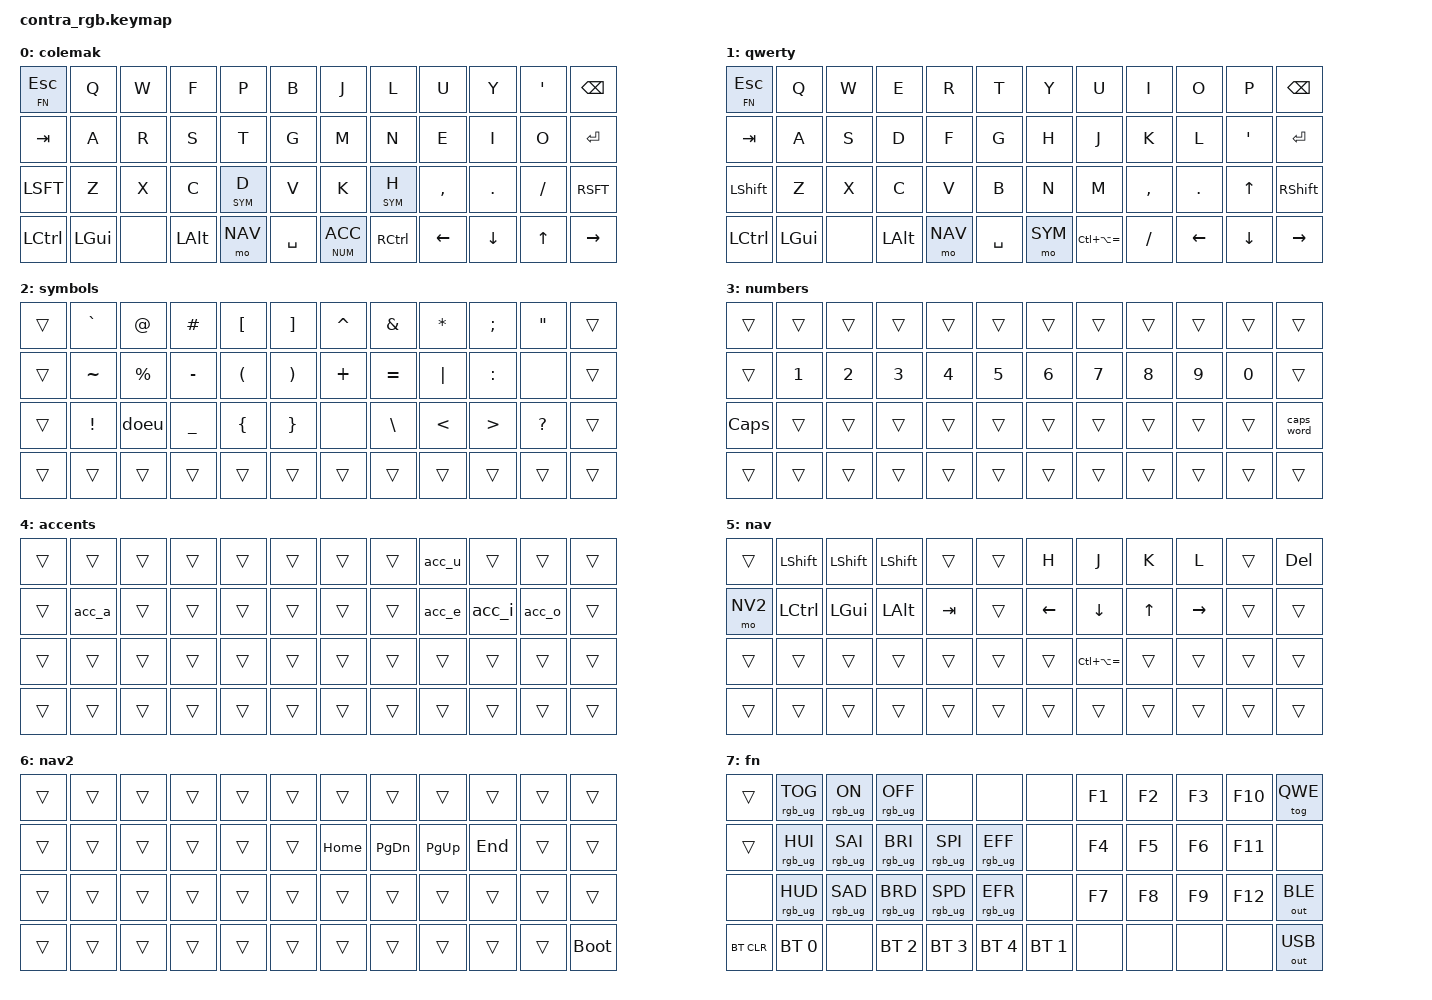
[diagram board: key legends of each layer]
/*
 * Copyright (c) 2021 The ZMK Contributors
 *
 * SPDX-License-Identifier: MIT
 */

#include <behaviors.dtsi>
#include <dt-bindings/zmk/keys.h>
#include <dt-bindings/zmk/bt.h>
#include <dt-bindings/zmk/rgb.h>
#include <dt-bindings/zmk/outputs.h>

#define COL      0
#define QWE      1
#define SYM      2
#define NUM      3
#define ACC      4
#define NAV      5
#define NV2      6
#define FN       7

#define COMPOSE_KEY K_APP

&caps_word {
    continue-list = <UNDERSCORE BACKSPACE DELETE COMPOSE_KEY GRAVE SQT>;
};

/ {
    keymap {
        compatible = "zmk,keymap";

/*
 * ┌─────┬─────┬─────┬─────┬─────┬─────┬─────┬─────┬─────┬─────┬─────┬─────┐
 * │ esc │  Q  │  W  │  F  │  P  │  B  │  J  │  L  │  U  │  Y  │  '  │bkspc│
 * ├─────┼─────┼─────┼─────┼─────┼─────┼─────┼─────┼─────┼─────┼─────┼─────┤
 * │ tab │  A  │  R  │  S  │  T  │  G  │  M  │  N  │  E  │  I  │  O  │enter│
 * ├─────┼─────┼─────┼─────┼─────┼─────┼─────┼─────┼─────┼─────┼─────┼─────┤
 * │shift│  Z  │  X  │  C  │  D  │  V  │  K  │  H  │  ,  │  .  │  /  │shift│
 * └─────┴─────┴─────┴─────┼─────┼─────┼─────┼─────┼─────┴─────┴─────┴─────┘
 *                         │ nav │space│nu/ac│ctrl │
 *                         └─────┴─────┴─────┴─────┘
 */
        colemak {
            bindings = <
    &lt FN ESC   &kp Q      &kp W &kp F    &kp P      &kp B     &kp J        &kp L      &kp U      &kp Y     &kp SQT       &kp BSPC
    &kp TAB      &kp A      &kp R &kp S    &kp T      &kp G     &kp M        &kp N      &kp E      &kp I     &kp O         &kp ENTER
    &kp LSFT     &kp Z      &kp X &kp C    &bhm SYM D &kp V     &kp K        &bhm SYM H &kp COMMA  &kp DOT   &kp FSLH      &kp RSFT
    &kp LCTRL    &kp LGUI   &none &kp LALT &mo NAV    &kp SPACE &nac NUM ACC &kp RCTRL  &kp LEFT   &kp DOWN  &kp UP        &kp RIGHT
            >;
        };

/*
 * ┌─────┬─────┬─────┬─────┬─────┬─────┬─────┬─────┬─────┬─────┬─────┬─────┐
 * │ esc │  Q  │  W  │  E  │  R  │  T  │  Y  │  U  │  I  │  O  │  P  │bkspc│
 * ├─────┼─────┼─────┼─────┼─────┼─────┼─────┼─────┼─────┼─────┼─────┼─────┤
 * │ tab │  A  │  S  │  D  │  F  │  G  │  H  │  J  │  K  │  L  │  '  │enter│
 * ├─────┼─────┼─────┼─────┼─────┼─────┼─────┼─────┼─────┼─────┼─────┼─────┤
 * │shift│  Z  │  X  │  C  │  V  │  B  │  N  │  M  │  ,  │  .  │  /  │shift│
 * └─────┴─────┴─────┴─────┼─────┼─────┼─────┼─────┼─────┴─────┴─────┴─────┘
 *                         │ nav │space│ sym │term │
 *                         └─────┴─────┴─────┴─────┘
 */
        qwerty {
            bindings = <
    &lt FN ESC &kp Q    &kp W &kp E    &kp R   &kp T     &kp Y   &kp U             &kp I     &kp O    &kp P    &kp BSPC
    &kp TAB    &kp A    &kp S &kp D    &kp F   &kp G     &kp H   &kp J             &kp K     &kp L    &kp SQT  &kp ENTER
    &kp LSHFT  &kp Z    &kp X &kp C    &kp V   &kp B     &kp N   &kp M             &kp COMMA &kp DOT  &kp UP   &kp RSHFT
    &kp LCTRL  &kp LGUI &none &kp LALT &mo NAV &kp SPACE &mo SYM &kp LC(LA(EQUAL)) &kp FSLH  &kp LEFT &kp DOWN &kp RIGHT
            >;
        };

/*
 * ┌─────┬─────┬─────┬─────┬─────┬─────┬─────┬─────┬─────┬─────┬─────┬─────┐
 * │     │  `  │  @  │  #  │  [  │  ]  │  ^  │  &  │  *  │  ;  │  "  │     │
 * ├─────┼─────┼─────┼─────┼─────┼─────┼─────┼─────┼─────┼─────┼─────┼─────┤
 * │     │  ~  │  %  │  -  │  (  │  )  │  +  │  =  │  |  │  :  │     │     │
 * ├─────┼─────┼─────┼─────┼─────┼─────┼─────┼─────┼─────┼─────┼─────┼─────┤
 * │     │  !  │ $ € │  _  │  {  │  }  │     │  \  │  <  │  >  │  ?  │     │
 * └─────┴─────┴─────┴─────┼─────┼─────┼─────┼─────┼─────┴─────┴─────┴─────┘
 *                         │     │     │     │     │
 *                         └─────┴─────┴─────┴─────┘
 */
        symbols {
            bindings = <
    &trans &kp GRAVE       &kp AT      &kp HASH       &kp LEFT_BRACKET     &kp RIGHT_BRACKET     &kp CARET  &kp AMPERSAND   &kp STAR      &kp SEMICOLON    &kp DOUBLE_QUOTES &trans
    &trans &kp TILDE       &kp PERCENT &kp MINUS      &kp LEFT_PARENTHESIS &kp RIGHT_PARENTHESIS &kp PLUS   &kp EQUAL       &kp PIPE      &kp COLON        &none             &trans
    &trans &kp EXCLAMATION &doeu       &kp UNDERSCORE &kp LEFT_BRACE       &kp RIGHT_BRACE       &none      &kp BACKSLASH   &kp LESS_THAN &kp GREATER_THAN &kp QUESTION      &trans
    &trans &trans          &trans      &trans         &trans               &trans                &trans     &trans          &trans        &trans           &trans            &trans
            >;
        };

/*
 * ┌─────┬─────┬─────┬─────┬─────┬─────┬─────┬─────┬─────┬─────┬─────┬─────┐
 * │     │     │     │     │     │     │     │     │     │     │     │     │
 * ├─────┼─────┼─────┼─────┼─────┼─────┼─────┼─────┼─────┼─────┼─────┼─────┤
 * │     │  1  │  2  │  3  │  4  │  5  │  6  │  7  │  8  │  9  │  0  │     │
 * ├─────┼─────┼─────┼─────┼─────┼─────┼─────┼─────┼─────┼─────┼─────┼─────┤
 * │caps │     │     │     │     │     │     │     │     │     │     │capsw│
 * └─────┴─────┴─────┴─────┼─────┼─────┼─────┼─────┼─────┴─────┴─────┴─────┘
 *                         │     │     │     │     │
 *                         └─────┴─────┴─────┴─────┘
 */
        numbers {
            bindings = <
    &trans    &trans &trans &trans &trans &trans &trans &trans &trans &trans &trans &trans
    &trans    &kp N1 &kp N2 &kp N3 &kp N4 &kp N5 &kp N6 &kp N7 &kp N8 &kp N9 &kp N0 &trans
    &kp CAPS  &trans &trans &trans &trans &trans &trans &trans &trans &trans &trans &caps_word
    &trans    &trans &trans &trans &trans &trans &trans &trans &trans &trans &trans &trans
            >;
        };

/*
 * ┌─────┬─────┬─────┬─────┬─────┬─────┬─────┬─────┬─────┬─────┬─────┬─────┐
 * │     │     │     │     │     │     │     │     │  Ù  │     │     │     │
 * ├─────┼─────┼─────┼─────┼─────┼─────┼─────┼─────┼─────┼─────┼─────┼─────┤
 * │     │  À  │     │     │     │     │     │     │ È É │  Ì  │  Ò  │     │
 * ├─────┼─────┼─────┼─────┼─────┼─────┼─────┼─────┼─────┼─────┼─────┼─────┤
 * │     │     │     │     │     │     │     │     │     │     │     │     │
 * └─────┴─────┴─────┴─────┼─────┼─────┼─────┼─────┼─────┴─────┴─────┴─────┘
 *                         │     │     │     │     │
 *                         └─────┴─────┴─────┴─────┘
 */
        accents {
            bindings = <
    &trans &trans &trans &trans &trans &trans &trans &trans &acc_u &trans &trans &trans
    &trans &acc_a &trans &trans &trans &trans &trans &trans &acc_e &acc_i &acc_o &trans
    &trans &trans &trans &trans &trans &trans &trans &trans &trans &trans &trans &trans
    &trans &trans &trans &trans &trans &trans &trans &trans &trans &trans &trans &trans
            >;
        };

/*
 * ┌─────┬─────┬─────┬─────┬─────┬─────┬─────┬─────┬─────┬─────┬─────┬─────┐
 * │     │shift│shift│shift│     │     │  h  │  j  │  k  │  l  │     │ del │
 * ├─────┼─────┼─────┼─────┼─────┼─────┼─────┼─────┼─────┼─────┼─────┼─────┤
 * │nav2 │ctrl │ win │ alt │ tab │     │left │down │ up  │right│     │     │
 * ├─────┼─────┼─────┼─────┼─────┼─────┼─────┼─────┼─────┼─────┼─────┼─────┤
 * │     │     │     │     │     │     │     │term │     │     │     │     │
 * └─────┴─────┴─────┴─────┼─────┼─────┼─────┼─────┼─────┴─────┴─────┴─────┘
 *                         │     │     │     │     │
 *                         └─────┴─────┴─────┴─────┘
 */
        nav {
            bindings = <
    &trans   &kp LSHFT &kp LSHFT &kp LSHFT &trans  &trans &kp H    &kp J             &kp K    &kp L     &trans    &kp DEL
    &mo NV2  &kp LCTRL &kp LGUI  &kp LALT  &kp TAB &trans &kp LEFT &kp DOWN          &kp UP   &kp RIGHT &trans    &trans
    &trans   &trans    &trans    &trans    &trans  &trans &trans   &kp LC(LA(EQUAL)) &trans   &trans    &trans    &trans
    &trans   &trans    &trans    &trans    &trans  &trans &trans   &trans            &trans   &trans    &trans    &trans
            >;
        };
/*
 * ┌─────┬─────┬─────┬─────┬─────┬─────┬─────┬─────┬─────┬─────┬─────┬─────┐
 * │     │     │     │     │     │     │     │     │     │     │     │     │
 * ├─────┼─────┼─────┼─────┼─────┼─────┼─────┼─────┼─────┼─────┼─────┼─────┤
 * │     │     │     │     │     │     │home │pgdwn│pgup │ end │     │     │
 * ├─────┼─────┼─────┼─────┼─────┼─────┼─────┼─────┼─────┼─────┼─────┼─────┤
 * │     │     │     │     │     │     │     │     │     │     │     │     │
 * └─────┴─────┴─────┴─────┼─────┼─────┼─────┼─────┼─────┴─────┴─────┴─────┘
 *                         │     │     │     │     │
 *                         └─────┴─────┴─────┴─────┘
 */
        nav2 {
            bindings = <
    &trans &trans &trans &trans &trans &trans &trans   &trans    &trans    &trans  &trans &trans
    &trans &trans &trans &trans &trans &trans &kp HOME &kp PG_DN &kp PG_UP &kp END &trans &trans
    &trans &trans &trans &trans &trans &trans &trans   &trans    &trans    &trans  &trans &trans
    &trans &trans &trans &trans &trans &trans &trans   &trans    &trans    &trans  &trans &bootloader
            >;
        };

/*
 * ┌─────┬─────┬─────┬─────┬─────┬─────┬─────┬─────┬─────┬─────┬─────┬─────┐
 * │     │     │     │     │     │     │     │ F1  │ F2  │ F3  │ F10 │ qwe │
 * ├─────┼─────┼─────┼─────┼─────┼─────┼─────┼─────┼─────┼─────┼─────┼─────┤
 * │     │     │     │     │     │     │     │ F4  │ F5  │ F6  │ F11 │     │
 * ├─────┼─────┼─────┼─────┼─────┼─────┼─────┼─────┼─────┼─────┼─────┼─────┤
 * │     │     │     │     │     │     │     │ F7  │ F8  │ F9  │ F12 │     │
 * └─────┴─────┴─────┴─────┼─────┼─────┼─────┼─────┼─────┴─────┴─────┴─────┘
 *                         │     │     │     │     │
 *                         └─────┴─────┴─────┴─────┘
 */
        fn {
            bindings = <
    &trans     &rgb_ug RGB_TOG &rgb_ug RGB_ON  &rgb_ug RGB_OFF &none           &none           &none        &kp F1 &kp F2 &kp F3 &kp F10 &tog QWE
    &trans     &rgb_ug RGB_HUI &rgb_ug RGB_SAI &rgb_ug RGB_BRI &rgb_ug RGB_SPI &rgb_ug RGB_EFF &none        &kp F4 &kp F5 &kp F6 &kp F11 &none
    &none      &rgb_ug RGB_HUD &rgb_ug RGB_SAD &rgb_ug RGB_BRD &rgb_ug RGB_SPD &rgb_ug RGB_EFR &none        &kp F7 &kp F8 &kp F9 &kp F12 &out OUT_BLE
    &bt BT_CLR &bt BT_SEL 0    &none           &bt BT_SEL 2    &bt BT_SEL 3    &bt BT_SEL 4    &bt BT_SEL 1 &none  &none  &none  &none   &out OUT_USB
            >;
        };
    };

    behaviors {
        bhm: balanced_homerow_mods {
            compatible = "zmk,behavior-hold-tap";
            label = "HOMEROW_MODS";
            #binding-cells = <2>;
            tapping-term-ms = <175>;
            quick-tap-ms = <150>;
            flavor = "balanced";
            bindings = <&mo>, <&kp>;
        };

        nac: num_acc {
            compatible = "zmk,behavior-hold-tap";
            #binding-cells = <2>;
            flavor = "hold-preferred";
            tapping-term-ms = <200>;
            bindings = <&mo>, <&acc>;
        };

        acc: accents_with_shift {
            compatible = "zmk,behavior-sticky-key";
            #binding-cells = <1>;
            bindings = <&mo>;
            release-after-ms = <1000>;
        };

        doeu: dollar_euro {
            compatible = "zmk,behavior-tap-dance";
            label = "TAP_DANCE_0";
            #binding-cells = <0>;
            tapping-term-ms = <175>;
            bindings = <&kp DOLLAR>, <&euro>;
        };

        acc_a: accented_a {
            compatible = "zmk,behavior-mod-morph";
            label = "ACCENTED_A";
            #binding-cells = <0>;
            bindings = <&lo_acc_a>, <&up_acc_a>;
            mods = <(MOD_LSFT|MOD_RSFT)>;
        };

        acc_e: accented_e {
            compatible = "zmk,behavior-tap-dance";
            label = "ACCENTED_E";
            #binding-cells = <0>;
            tapping-term-ms = <175>;
            bindings = <&acc_e_grv>, <&acc_e_acu>;
        };

        acc_e_grv: accented_e_grv {
            compatible = "zmk,behavior-mod-morph";
            label = "ACCENTED_E_GRV";
            #binding-cells = <0>;
            bindings = <&lo_acc_e>, <&up_acc_e>;
            mods = <(MOD_LSFT|MOD_RSFT)>;
        };

        acc_e_acu: accented_e_acu {
            compatible = "zmk,behavior-mod-morph";
            label = "ACCENTED_E_ACU";
            #binding-cells = <0>;
            bindings = <&lo_acc_e_acu>, <&up_acc_e_acu>;
            mods = <(MOD_LSFT|MOD_RSFT)>;
        };

        acc_i: accented_i {
            compatible = "zmk,behavior-mod-morph";
            label = "ACCENTED_I";
            #binding-cells = <0>;
            bindings = <&lo_acc_i>, <&up_acc_i>;
            mods = <(MOD_LSFT|MOD_RSFT)>;
        };

        acc_o: accented_o {
            compatible = "zmk,behavior-mod-morph";
            label = "ACCENTED_O";
            #binding-cells = <0>;
            bindings = <&lo_acc_o>, <&up_acc_o>;
            mods = <(MOD_LSFT|MOD_RSFT)>;
        };

        acc_u: accented_u {
            compatible = "zmk,behavior-mod-morph";
            label = "ACCENTED_U";
            #binding-cells = <0>;
            bindings = <&lo_acc_u>, <&up_acc_u>;
            mods = <(MOD_LSFT|MOD_RSFT)>;
        };
    };

    macros {
        euro: euro {
            label = "TYPE_EURO_SYMBOL";
            compatible = "zmk,behavior-macro";
            tap-ms = <0>;
            wait-ms = <0>;
            #binding-cells = <0>;
            bindings
                = <&macro_tap &kp COMPOSE_KEY &kp E &kp EQUAL>
                ;
        };

        lo_acc_a: lower_accented_a {
            label = "LOWER_ACCENTED_A";
            compatible = "zmk,behavior-macro";
            tap-ms = <0>;
            wait-ms = <0>;
            #binding-cells = <0>;
            bindings
                = <&macro_tap &kp COMPOSE_KEY &kp A &kp GRAVE>
                ;
        };

        up_acc_a: upper_accented_a {
            label = "UPPER_ACCENTED_A";
            compatible = "zmk,behavior-macro";
            tap-ms = <0>;
            wait-ms = <0>;
            #binding-cells = <0>;
            bindings
                = <&macro_tap &kp COMPOSE_KEY &kp LS(A) &kp GRAVE>
                ;
        };

        lo_acc_e: lower_accented_e {
            label = "LOWER_ACCENTED_E";
            compatible = "zmk,behavior-macro";
            tap-ms = <0>;
            wait-ms = <0>;
            #binding-cells = <0>;
            bindings
                = <&macro_tap &kp COMPOSE_KEY &kp E &kp GRAVE>
                ;
        };

        up_acc_e: upper_accented_e {
            label = "UPPER_ACCENTED_E";
            compatible = "zmk,behavior-macro";
            tap-ms = <0>;
            wait-ms = <0>;
            #binding-cells = <0>;
            bindings
                = <&macro_tap &kp COMPOSE_KEY &kp LS(E) &kp GRAVE>
                ;
        };

        lo_acc_e_acu: lower_accented_e_acu {
            label = "LOWER_ACCENTED_E_ACU";
            compatible = "zmk,behavior-macro";
            tap-ms = <0>;
            wait-ms = <0>;
            #binding-cells = <0>;
            bindings
                = <&macro_tap &kp COMPOSE_KEY &kp E &kp SQT>
                ;
        };

        up_acc_e_acu: upper_accented_e_acu {
            label = "UPPER_ACCENTED_E_ACU";
            compatible = "zmk,behavior-macro";
            tap-ms = <0>;
            wait-ms = <0>;
            #binding-cells = <0>;
            bindings
                = <&macro_tap &kp COMPOSE_KEY &kp LS(E) &kp SQT>
                ;
        };

        lo_acc_i: lower_accented_i {
            label = "LOWER_ACCENTED_I";
            compatible = "zmk,behavior-macro";
            tap-ms = <0>;
            wait-ms = <0>;
            #binding-cells = <0>;
            bindings
                = <&macro_tap &kp COMPOSE_KEY &kp I &kp GRAVE>
                ;
        };

        up_acc_i: upper_accented_i {
            label = "UPPER_ACCENTED_I";
            compatible = "zmk,behavior-macro";
            tap-ms = <0>;
            wait-ms = <0>;
            #binding-cells = <0>;
            bindings
                = <&macro_tap &kp COMPOSE_KEY &kp LS(I) &kp GRAVE>
                ;
        };

        lo_acc_o: lower_accented_o {
            label = "LOWER_ACCENTED_O";
            compatible = "zmk,behavior-macro";
            tap-ms = <0>;
            wait-ms = <0>;
            #binding-cells = <0>;
            bindings
                = <&macro_tap &kp COMPOSE_KEY &kp O &kp GRAVE>
                ;
        };

        up_acc_o: upper_accented_o {
            label = "UPPER_ACCENTED_O";
            compatible = "zmk,behavior-macro";
            tap-ms = <0>;
            wait-ms = <0>;
            #binding-cells = <0>;
            bindings
                = <&macro_tap &kp COMPOSE_KEY &kp LS(O) &kp GRAVE>
                ;
        };

        lo_acc_u: lower_accented_u {
            label = "LOWER_ACCENTED_U";
            compatible = "zmk,behavior-macro";
            tap-ms = <0>;
            wait-ms = <0>;
            #binding-cells = <0>;
            bindings
                = <&macro_tap &kp COMPOSE_KEY &kp U &kp GRAVE>
                ;
        };

        up_acc_u: upper_accented_u {
            label = "UPPER_ACCENTED_U";
            compatible = "zmk,behavior-macro";
            tap-ms = <0>;
            wait-ms = <0>;
            #binding-cells = <0>;
            bindings
                = <&macro_tap &kp COMPOSE_KEY &kp LS(U) &kp GRAVE>
                ;
        };
        
    };
};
